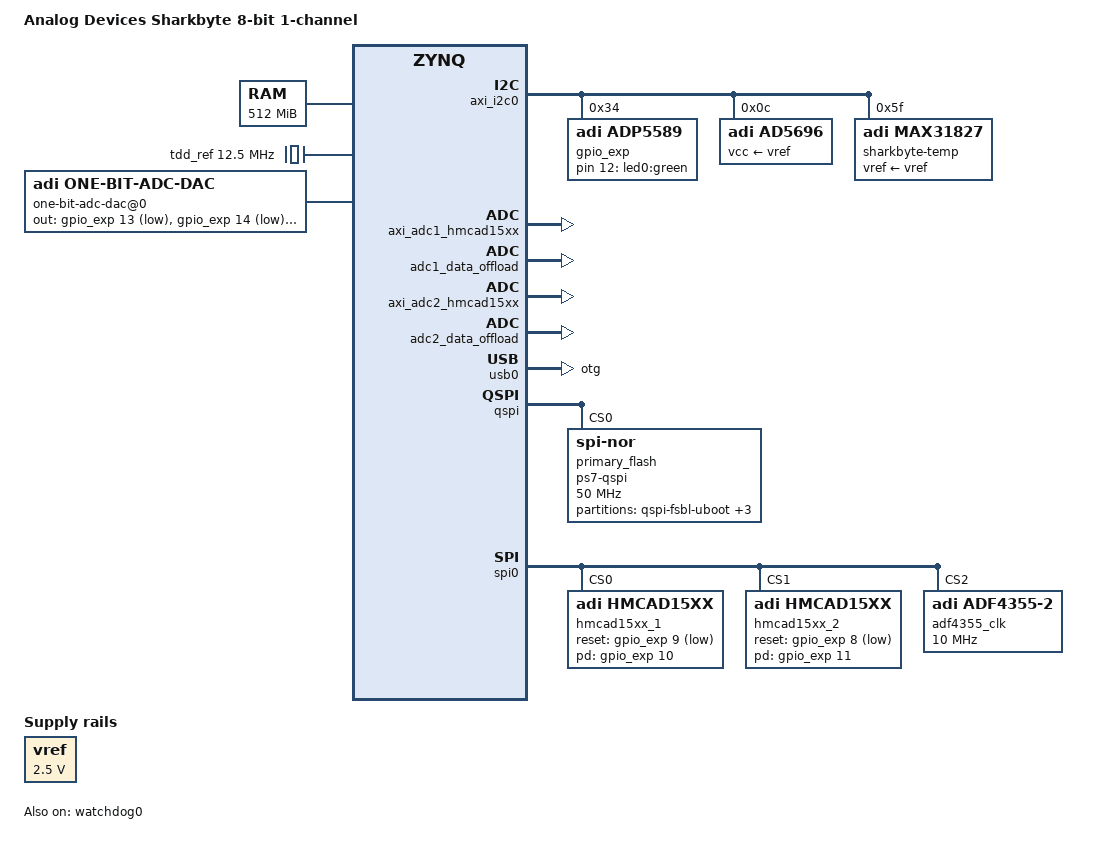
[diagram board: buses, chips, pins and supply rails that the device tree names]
// SPDX-License-Identifier: GPL-2.0
/*
 * Analog Devices Sharkbyte - 8-bit Single Channel Mode
 * https://wiki.analog.com/resources/tools-software/linux-drivers/iio-adc/ad7768
 *
 * hdl_project: <projects/sharkbyte>
 * board_revision: <>
 *
 * Copyright (C) 2025 Analog Devices Inc.
 */
/dts-v1/;

#include "zynq.dtsi"
#include <dt-bindings/gpio/gpio.h>
#include <dt-bindings/interrupt-controller/irq.h>

/ {
	model = "Analog Devices Sharkbyte 8-bit 1-channel";
	memory {
		device_type = "memory";
		reg = <0x00000000 0x20000000>;
	};

	chosen {
		stdout-path = "/amba@0/uart@E0001000";
	};
};

/ {
	clocks {
		adf4355_clkin: clock@0 {
			compatible = "fixed-clock";
			clock-frequency = <10000000>;
			clock-output-names = "clkin";
			#clock-cells = <0>;
		};
		tdd_ref: clock@1 {
			compatible = "fixed-clock";
			clock-frequency = <12500000>;
			cloc-output-names = "tdd_ref_clk";
			#clock-cells = <0>;
		};
    };

    vref: regulator-vref {
		compatible = "regulator-fixed";
		regulator-name = "fixed-supply";
		regulator-min-microvolt = <2500000>;
		regulator-max-microvolt = <2500000>;
		regulator-always-on;
	    };

    one-bit-adc-dac@0 {
		compatible = "adi,one-bit-adc-dac";

		#address-cells = <1>;
		#size-cells = <0>;

		out-gpios =  <&gpio_exp 13 GPIO_ACTIVE_LOW>, <&gpio_exp 14 GPIO_ACTIVE_LOW>, <&gpio_exp 15 GPIO_ACTIVE_LOW>;

		channel@0 {
			reg = <0>;
			label = "ldac";
		};
		channel@1 {
			reg = <1>;
			label = "rstn_dac";
    	};
		channel@2 {
			reg = <2>;
			label = "clk_sel";
        };
	};

	leds {
		compatible = "gpio-leds";
		led0 {
			label = "led0:green";
			gpios = <&gpio_exp 12 GPIO_ACTIVE_HIGH>;
			linux,default-trigger = "heartbeat";
		};
	};

	gpio_keys {
		compatible = "gpio-keys";
		#address-cells = <1>;
		#size-cells = <0>;
		autorepeat;
	};
};

/ {
    fpga_axi: fpga-axi@0 {
        compatible = "simple-bus";
		#address-cells = <0x1>;
		#size-cells = <0x1>;
		ranges;

        axi_i2c0: i2c@41600000 {
            compatible = "xlnx,axi-iic-1.02.a", "xlnx,xps-iic-2.00.a";
            reg = <0x41600000 0x10000>;
            interrupt-parent = <&intc>;
            interrupts = <0 59 IRQ_TYPE_LEVEL_HIGH>;
            clocks = <&clkc 15>;
            clock-names = "pclk";

            #address-cells = <1>;
            #size-cells = <0>;

            status = "okay";


            gpio_exp: gpio@34 {
				compatible = "adi,adp5589";
				reg = <0x34>;

				#gpio-cells = <2>;
				gpio-controller;
			};

            ad5696: dac@c {
	        	compatible = "adi,ad5696";
	        	reg = <0x0c>;
	        	vcc-supply = <&vref>;
	        };

            max31827: max31827@5f {
                compatible = "adi,max31827";
                label = "sharkbyte-temp";
                reg = <0x5f>;
                vref-supply = <&vref>;
                adi,comp-int;
                adi,alarm-pol = <0>;
                adi,fault-q = <1>;
                adi,timeout-enable;
            };

        };

        // =====================================================================
        // ADC1 Data Path: HMCAD15xx -> data_offload (BRAM) -> DMA -> DDR
        // =====================================================================

        // ADC1 AXI interface core - provides register access to HMCAD15xx
        // Address: 0x44A00000, Size: 64KB
        axi_adc1_hmcad15xx: axi_adc1_hmcad15xx@44A00000 {
            compatible = "adi,axi-adc-legacy-10.0.a";
            reg = <0x44A00000 0x10000>;
            dmas = <&rx1_dma 0>;               // DMA channel for data transfer
            dma-names = "rx";                   // RX path (ADC -> memory)
            spibus-connected = <&hmcad15xx_1>;  // Links to SPI device for config
        };

        // ADC1 Data Offload - BRAM-based store-and-forward buffer
        // Buffers ADC data in FPGA BRAM before DMA transfer to DDR
        // This decouples high-speed ADC from DDR bandwidth limitations
        // Address: 0x44B00000, Size: 64KB
        adc1_data_offload: axi-data-offload-0@44b00000 {
            compatible = "adi,axi-data-offload-1.0.a";
            reg = <0x44B00000 0x10000>;
			adi,oneshot;
			adi,sync-config = <1>;
        };

        // ADC1 DMA controller - transfers data from data_offload to DDR
        // Address: 0x44A30000, Size: 64KB
        // Interrupt: SPI[56] = PL interrupt 0 (offset 32+24)
        rx1_dma: rx1_dma@44a30000 {
            compatible = "adi,axi-dmac-1.00.a";
            reg = <0x44A30000 0x10000>;
            #dma-cells = <1>;
            interrupts = <0 56 IRQ_TYPE_LEVEL_HIGH>;  // SPI[56], level triggered
            clocks = <&clkc 17>;                       // FCLK2 = 150MHz

            adi,channels {
                #size-cells = <0>;
                #address-cells = <1>;

                dma-channel@0 {
                    reg = <0>;
                    // Source: AXI Stream from data_offload (64-bit width)
                    // bus-type: 0=AXI-MM, 1=AXI-Stream, 2=FIFO
                    adi,source-bus-width = <64>;   // data_offload output width
                    adi,source-bus-type = <1>;     // 1 = AXI Stream
                    // Destination: AXI-MM to PS7 HP port -> DDR (64-bit width)
                    adi,destination-bus-width = <64>;
                    adi,destination-bus-type = <0>; // 0 = AXI Memory-Mapped
                };
            };
        };

        // =====================================================================
        // ADC2 Data Path: HMCAD15xx -> data_offload (BRAM) -> DMA -> DDR
        // =====================================================================

        // ADC2 AXI interface core
        // Address: 0x44A60000, Size: 64KB
        axi_adc2_hmcad15xx: axi_adc2_hmcad15xx@44A60000 {
            compatible = "adi,axi-adc-legacy-10.0.a";
            reg = <0x44A60000 0x10000>;
            dmas = <&rx2_dma 0>;
            dma-names = "rx";
            spibus-connected = <&hmcad15xx_2>;
        };

        // ADC2 Data Offload - BRAM-based store-and-forward buffer
        // Address: 0x44B10000, Size: 64KB
        adc2_data_offload: axi-data-offload-1@44b10000 {
            compatible = "adi,axi-data-offload-1.0.a";
            reg = <0x44B10000 0x10000>;
			adi,oneshot;
			adi,sync-config = <1>;
        };

        // ADC2 DMA controller
        // Address: 0x44A90000, Size: 64KB
        // Interrupt: SPI[57] = PL interrupt 1
        rx2_dma: rx2_dma@44a90000 {
            compatible = "adi,axi-dmac-1.00.a";
            reg = <0x44A90000 0x10000>;
            #dma-cells = <1>;
            interrupts = <0 57 IRQ_TYPE_LEVEL_HIGH>;
            clocks = <&clkc 17>;

            adi,channels {
                #size-cells = <0>;
                #address-cells = <1>;

                dma-channel@0 {
                    reg = <0>;
                    adi,source-bus-width = <64>;
                    adi,source-bus-type = <1>;      // AXI Stream from data_offload
                    adi,destination-bus-width = <64>;
                    adi,destination-bus-type = <0>; // AXI-MM to DDR
                };
            };
        };

		// TDD configuration, controlled from software
		axi_tdd_0: axi-tdd-0@44ac0000 {
			compatible = "adi,axi-tdd";
			reg = <0x44ac0000 0x10000>;
			clocks = <&clkc 15>, <&tdd_ref>;
			clock-names = "s_axi_aclk", "intf_clk";
		};

		iio_axi_tdd_0: iio-axi-tdd-0@0 {
			compatible = "adi,iio-fake-platform-device";
			adi,faked-dev = <&axi_tdd_0>;
			adi,attribute-names =
			"version", "core_id", "scratch", "magic",
			"sync_soft", "sync_external", "sync_internal", "sync_reset",
			"enable", "startup_delay_raw", "startup_delay_ms",
			"burst_count", "frame_length_raw", "frame_length_ms",
			"state", "internal_sync_period_raw", "internal_sync_period_ms",
			"out_channel0_enable", "out_channel0_polarity",
			"out_channel0_on_raw", "out_channel0_on_ms",
			"out_channel0_off_raw", "out_channel0_off_ms",
			"out_channel1_enable", "out_channel1_polarity",
			"out_channel1_on_raw", "out_channel1_on_ms",
			"out_channel1_off_raw", "out_channel1_off_ms";
			label = "axi-core-tdd";
		};
    };
};

&sdhci0 {
	status = "disabled";
};

&watchdog0 {
	status = "okay";
	reset-on-timeout;
};

&usb0 {
	xlnx,phy-reset-gpio = <&gpio0 52 0>;
	dr_mode = "otg";
	status = "okay";
};

&qspi {
	status = "okay";
	is-dual = <0>;
	num-cs = <1>;
	spi-nor-locking-disable;

	primary_flash: ps7-qspi@0 {
		#address-cells = <1>;
		#size-cells = <1>;
		spi-tx-bus-width = <1>;
		spi-rx-bus-width = <4>;
		compatible = "jedec,spi-nor";
		reg = <0x0>;
		spi-max-frequency = <50000000>;
		partition@qspi-fsbl-uboot {
			label = "qspi-fsbl-uboot";
			reg = <0x0 0x100000>; /* 1M */
		};
		partition@qspi-uboot-env {
			label = "qspi-uboot-env";
			reg = <0x100000 0x20000>; /* 128k */
		};
		partition@qspi-nvmfs {
			label = "qspi-nvmfs";
			reg = <0x120000 0xE0000>; /* 1M */
		};
		partition@qspi-linux {
			label = "qspi-linux";
			reg = <0x200000 0x1E00000>; /* 30M */
		};
	};
};

&spi0 {
	status = "okay";

    hmcad15xx_1: hmcad15xx_1@0 {
        compatible = "adi,hmcad15xx";
        reg = <0>;
        clocks = <&adf4355_clk>;
        clock-names = "clk";
        reset-gpios = <&gpio_exp 9 GPIO_ACTIVE_LOW>;
		pd-gpios = <&gpio_exp 10 GPIO_ACTIVE_HIGH>;
        adi,num-channels = <1>;
        adi,resolution = <8>;
        adi,pol-mask = <239>;
    };

    hmcad15xx_2: hmcad15xx_2@1 {
        compatible = "adi,hmcad15xx";
        reg = <1>;
        clocks = <&adf4355_clk>;
        clock-names = "clk";
        reset-gpios = <&gpio_exp 8 GPIO_ACTIVE_LOW>;
        pd-gpios = <&gpio_exp 11 GPIO_ACTIVE_HIGH>;
        adi,num-channels = <1>;
        adi,resolution = <8>;
        adi,pol-mask = <32>;
    };

    adf4355_clk: adf4355@2 {
		compatible = "adi,adf4355-2";
		reg = <2>;
		spi-max-frequency = <10000000>;
		clocks = <&adf4355_clkin>;
		clock-names = "clkin";
		clock-output-names = "adf4355_pll";
		#clock-cells = <0>;
		adi,charge-pump-current = <900>;
		adi,muxout-select = <6>;
		adi,output-a-power = <3>;
		adi,output-b-power = <3>;
        adi,mute-till-lock-enable;
		adi,charge-pump-negative-bleed-enable;
		adi,reference-differential-input-enable;
		adi,power-up-frequency = /bits/ 64 <1000000000>;
		adi,output-a-enable;
		adi,output-b-enable;
		adi,clock-shift = <0>;
	};
};


